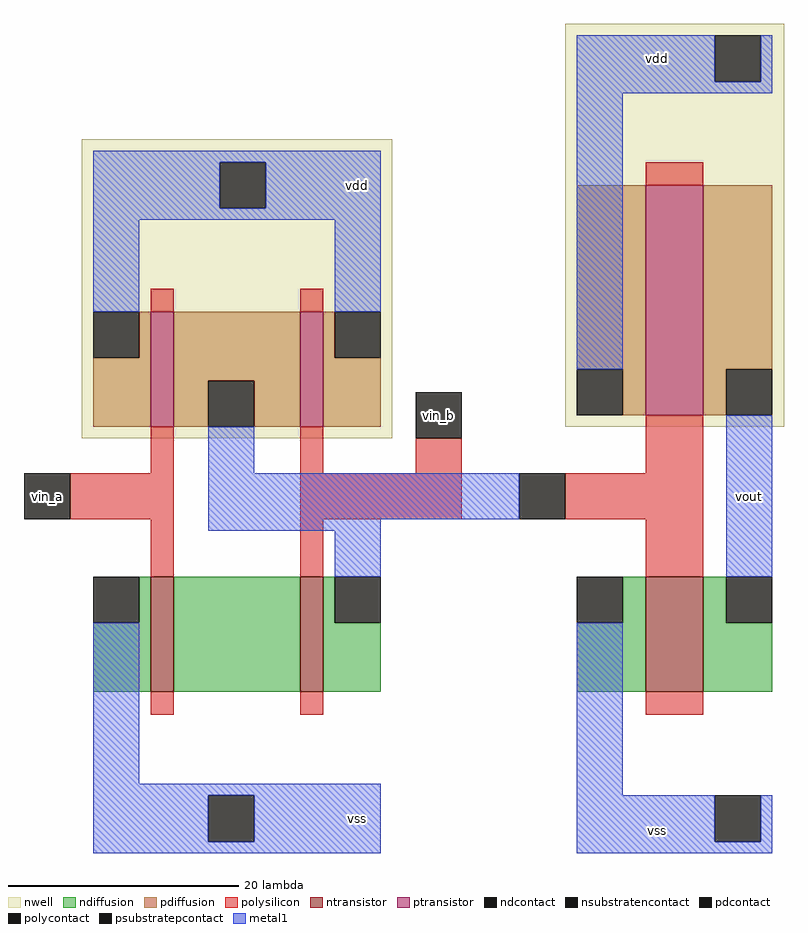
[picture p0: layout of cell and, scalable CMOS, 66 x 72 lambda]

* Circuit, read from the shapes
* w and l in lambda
.subckt and vdd vin_a vin_b vout vss
M1 n1 vin_a vss vss nfet w=10 l=2
M2 n2 vin_b n1 vss nfet w=10 l=2
M3 vout n2 vss vss nfet w=10 l=5
M4 n2 vin_a vdd vdd pfet w=10 l=2
M5 vdd vin_b n2 vdd pfet w=10 l=2
M6 vout n2 vdd vdd pfet w=20 l=5
.ends

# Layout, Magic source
magic
tech scmos
<< nwell >>
rect -15 26 12 52
rect 27 27 46 62
<< polysilicon >>
rect 34 48 39 50
rect -9 37 -7 39
rect 4 37 6 39
rect -9 23 -7 27
rect -16 19 -7 23
rect -9 14 -7 19
rect 4 23 6 27
rect 14 23 18 26
rect 34 23 39 28
rect 4 19 18 23
rect 27 19 39 23
rect 4 14 6 19
rect 34 14 39 19
rect -9 2 -7 4
rect 4 2 6 4
rect 34 2 39 4
<< ndiffusion >>
rect -10 10 -9 14
rect -14 4 -9 10
rect -7 4 4 14
rect 6 10 7 14
rect 6 4 11 10
rect 32 10 34 14
rect 28 4 34 10
rect 39 10 41 14
rect 39 4 45 10
<< pdiffusion >>
rect -10 33 -9 37
rect -14 27 -9 33
rect -7 31 4 37
rect -7 27 -4 31
rect 0 27 4 31
rect 6 33 7 37
rect 6 27 11 33
rect 28 32 34 48
rect 32 28 34 32
rect 39 32 45 48
rect 39 28 41 32
<< metal1 >>
rect 28 57 40 61
rect 44 57 45 61
rect 28 56 45 57
rect -14 50 11 51
rect -14 46 -3 50
rect 1 46 11 50
rect -14 45 11 46
rect -14 37 -10 45
rect 7 37 11 45
rect 28 32 32 56
rect -4 23 0 27
rect -4 19 23 23
rect -4 18 11 19
rect 7 14 11 18
rect 41 14 45 28
rect -14 -4 -10 10
rect -14 -5 11 -4
rect -14 -9 -4 -5
rect 0 -9 11 -5
rect -14 -10 11 -9
rect 28 -5 32 10
rect 28 -9 40 -5
rect 44 -9 45 -5
rect 28 -10 45 -9
<< ntransistor >>
rect -9 4 -7 14
rect 4 4 6 14
rect 34 4 39 14
<< ptransistor >>
rect -9 27 -7 37
rect 4 27 6 37
rect 34 28 39 48
<< polycontact >>
rect -20 19 -16 23
rect 14 26 18 30
rect 23 19 27 23
<< ndcontact >>
rect -14 10 -10 14
rect 7 10 11 14
rect 28 10 32 14
rect 41 10 45 14
<< pdcontact >>
rect -14 33 -10 37
rect -4 27 0 31
rect 7 33 11 37
rect 28 28 32 32
rect 41 28 45 32
<< psubstratepcontact >>
rect -4 -9 0 -5
rect 40 -9 44 -5
<< nsubstratencontact >>
rect 40 57 44 61
rect -3 46 1 50
<< labels >>
rlabel metal1 7 46 11 50 3 vdd
rlabel metal1 7 -9 11 -5 3 vss
rlabel polycontact -20 19 -16 23 7 vin_a
rlabel metal1 41 19 45 23 3 vout
rlabel metal1 33 57 37 61 1 vdd
rlabel metal1 33 -10 37 -6 5 vss
rlabel polycontact 14 26 18 30 3 vin_b
<< end >>
